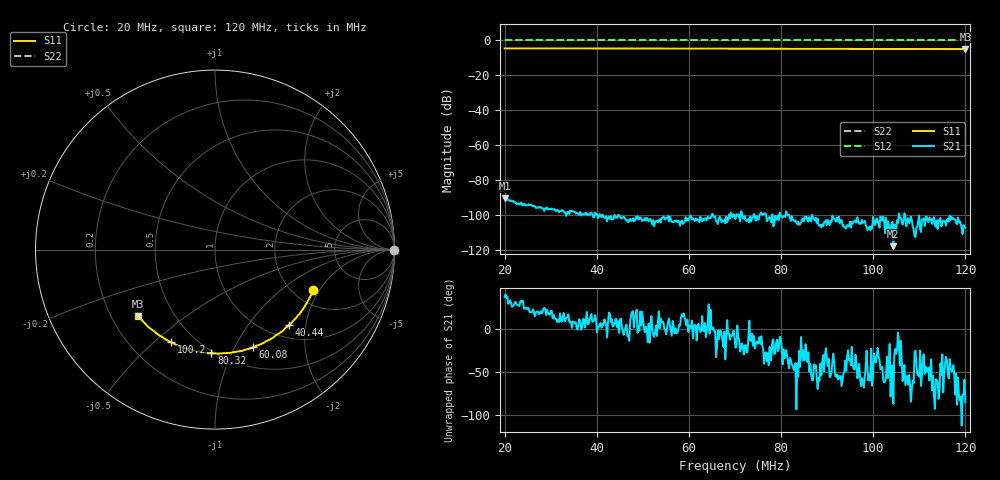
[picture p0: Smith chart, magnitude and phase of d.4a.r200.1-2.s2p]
! Anritsu VNA Master:  Model: MS2036C/10/77
! SN:  1601066
! /bd0/18may26.balun/4a.r200.s2p
! Existing Calibration Information:
! TYPE:  Current Settings,  Active Cal Settings
! TIME:  05/26/2018 03:09:30 PM,  05/26/2018 02:51:55 PM
! INTERNAL TEMP:  59.3 C,  59.5 C
! # POINTS:  500,  500
! START FREQ:  20.000 MHz,  20.000 MHz
! STOP FREQ:  120.000 MHz,  120.000 MHz
! SOURCE POWER:  High,  High
! IFBW:  50 Hz,  50 Hz
! AVG FACTOR:  1 ,  1
! REF PLANE 1:  0 mm,  0 mm
! REF PLANE 2:  0 mm,  0 mm
! CAL TYPE:  Full S11,  Full S11
! CAL METHOD:  SOLT,  SOLT
! CAL LINE TYPE:  Coax,  Coax
! DUT PORT 1:  K-Conn(M),  K-Conn(M)
! DUT PORT 2:  K-Conn(M),  K-Conn(M)
! CAL STATUS:  OK: Accuracy High,  --
# GHZ S DB R 50.0
! FREQ.GHZ  S11DB  S11A  S21DB  S21A  S12DB  S12A  S22DB  S22A
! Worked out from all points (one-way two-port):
!   500 points, 20 MHz to 120 MHz, reference 50 ohm
!   highest |S21| = -90.54 dB at 20 MHz (marker M1); lowest = -118.0 dB at 104.4 MHz (marker M2)
!   lowest |S11| = -4.9 dB at 120 MHz (marker M3), VSWR 3.61, Z = 15.6 - j17 ohm
!   |S11| at or under -10 dB: nowhere
!   |S22| runs from 0.0 to 0.0 dB; largest |S21 - S12| = 1
!   S11 on the Smith chart (normalised r, x): 20 MHz: 2.52, -1.77; 40.44 MHz: 1.24, -1.61; 60.08 MHz: 0.72, -1.19; 80.32 MHz: 0.49, -0.84; 100.2 MHz: 0.37, -0.57; 120 MHz: 0.31, -0.34
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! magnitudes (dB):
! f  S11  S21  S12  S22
! 20 MHz  -4.6  -90.5  0.0  0.0
! 33.03 MHz  -4.6  -98.4  0.0  0.0
! 36.83 MHz  -4.6  -99.7  0.0  0.0
! 38.64 MHz  -4.6  -99.1  0.0  0.0
! 40.44 MHz  -4.6  -101.2  0.0  0.0
! 42.44 MHz  -4.6  -102.0  0.0  0.0
! 44.05 MHz  -4.6  -101.6  0.0  0.0
! 47.66 MHz  -4.7  -102.9  0.0  0.0
! 49.66 MHz  -4.6  -102.1  0.0  0.0
! 53.47 MHz  -4.7  -103.7  0.0  0.0
! 60.08 MHz  -4.7  -102.0  0.0  0.0
! 70.1 MHz  -4.7  -102.5  0.0  0.0
! 80.32 MHz  -4.8  -101.7  0.0  0.0
! 86.73 MHz  -4.8  -100.1  0.0  0.0
! 90.54 MHz  -4.8  -106.0  0.0  0.0
! 100.2 MHz  -4.9  -104.0  0.0  0.0
! 103.4 MHz  -4.9  -105.8  0.0  0.0
! 104.4 MHz  -4.9  -118.0  0.0  0.0
! 110.2 MHz  -4.9  -108.5  0.0  0.0
! 113 MHz  -4.9  -102.6  0.0  0.0
! 116.2 MHz  -4.9  -102.4  0.0  0.0
! 120 MHz  -4.9  -107.5  0.0  0.0
